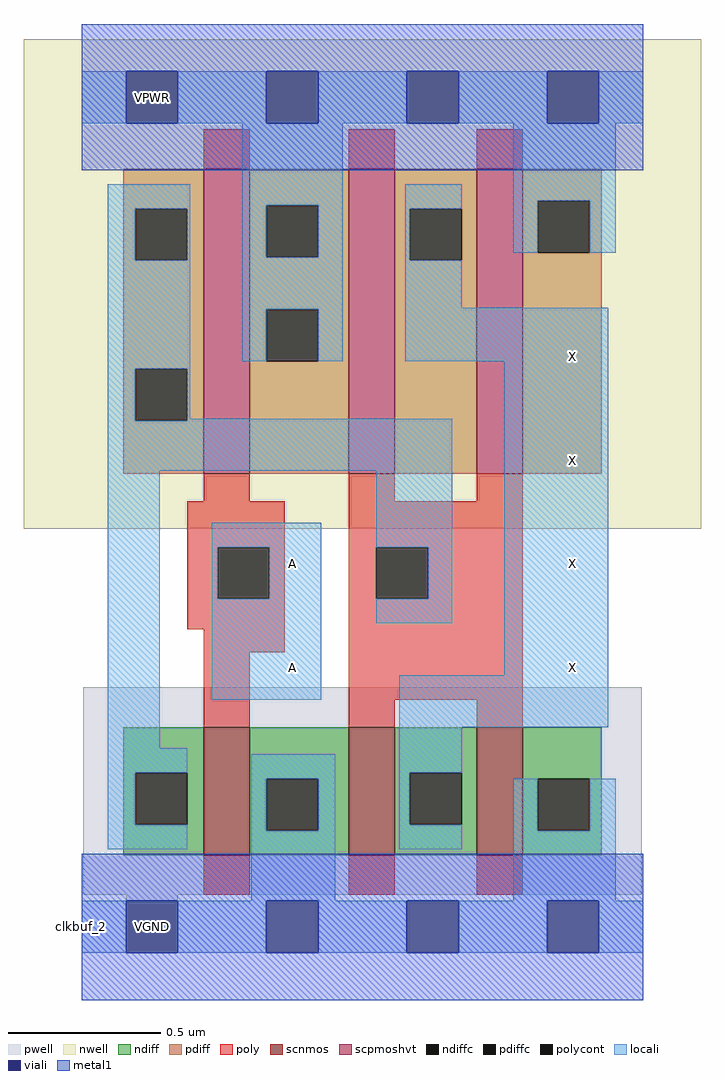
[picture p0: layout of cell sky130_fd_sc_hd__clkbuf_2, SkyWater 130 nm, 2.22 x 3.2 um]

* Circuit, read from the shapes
.subckt sky130_fd_sc_hd__clkbuf_2 VGND VPWR VPB VNB A X
XM1 VGND A n1 VNB sky130_fd_pr__nfet_01v8 w=0.42 l=0.15
XM2 X n1 VGND VNB sky130_fd_pr__nfet_01v8 w=0.42 l=0.15 m=2
XM3 VPWR A n1 VPB sky130_fd_pr__pfet_01v8_hvt w=1 l=0.15
XM4 X n1 VPWR VPB sky130_fd_pr__pfet_01v8_hvt w=1 l=0.15 m=2
.ends

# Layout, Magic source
magic
tech sky130B
magscale 1 2
<< nwell >>
rect -38 221 406 542
<< pwell >>
rect 1 -19 367 117
rect 29 -57 63 -19
<< scnmos >>
rect 80 7 110 91
rect 175 7 205 91
rect 259 7 289 91
<< scpmoshvt >>
rect 80 257 110 457
rect 175 257 205 457
rect 259 257 289 457
<< ndiff >>
rect 27 61 80 91
rect 27 27 35 61
rect 69 27 80 61
rect 27 7 80 27
rect 110 57 175 91
rect 110 23 121 57
rect 155 23 175 57
rect 110 7 175 23
rect 205 61 259 91
rect 205 27 215 61
rect 249 27 259 61
rect 205 7 259 27
rect 289 57 341 91
rect 289 23 299 57
rect 333 23 341 57
rect 289 7 341 23
<< pdiff >>
rect 27 431 80 457
rect 27 397 35 431
rect 69 397 80 431
rect 27 326 80 397
rect 27 292 35 326
rect 69 292 80 326
rect 27 257 80 292
rect 110 433 175 457
rect 110 399 121 433
rect 155 399 175 433
rect 110 365 175 399
rect 110 331 121 365
rect 155 331 175 365
rect 110 257 175 331
rect 205 431 259 457
rect 205 397 215 431
rect 249 397 259 431
rect 205 257 259 397
rect 289 436 341 457
rect 289 402 299 436
rect 333 402 341 436
rect 289 257 341 402
<< ndiffc >>
rect 35 27 69 61
rect 121 23 155 57
rect 215 27 249 61
rect 299 23 333 57
<< pdiffc >>
rect 35 397 69 431
rect 35 292 69 326
rect 121 399 155 433
rect 121 331 155 365
rect 215 397 249 431
rect 299 402 333 436
<< poly >>
rect 80 457 110 483
rect 175 457 205 483
rect 259 457 289 483
rect 80 239 110 257
rect 175 239 205 257
rect 259 239 289 257
rect 69 209 133 239
rect 69 175 89 209
rect 123 175 133 209
rect 69 155 133 175
rect 80 140 133 155
rect 175 209 289 239
rect 175 175 193 209
rect 227 175 289 209
rect 80 91 110 140
rect 175 109 289 175
rect 175 91 205 109
rect 259 91 289 109
rect 80 -19 110 7
rect 175 -19 205 7
rect 259 -19 289 7
<< polycont >>
rect 89 175 123 209
rect 193 175 227 209
<< locali >>
rect 0 487 29 521
rect 63 487 121 521
rect 155 487 213 521
rect 247 487 305 521
rect 339 487 368 521
rect 17 431 71 447
rect 17 397 35 431
rect 69 397 71 431
rect 17 326 71 397
rect 105 433 171 487
rect 105 399 121 433
rect 155 399 171 433
rect 105 365 171 399
rect 105 331 121 365
rect 155 331 171 365
rect 212 431 249 447
rect 212 397 215 431
rect 283 436 350 487
rect 283 402 299 436
rect 333 402 350 436
rect 212 366 249 397
rect 212 331 345 366
rect 17 292 35 326
rect 69 293 71 326
rect 69 292 243 293
rect 17 259 243 292
rect 17 77 51 259
rect 85 209 157 225
rect 85 175 89 209
rect 123 175 157 209
rect 85 109 157 175
rect 193 209 243 259
rect 227 175 243 209
rect 193 159 243 175
rect 277 125 345 331
rect 208 91 345 125
rect 17 61 69 77
rect 17 27 35 61
rect 17 11 69 27
rect 111 57 166 73
rect 111 23 121 57
rect 155 23 166 57
rect 111 -23 166 23
rect 208 61 249 91
rect 208 27 215 61
rect 208 11 249 27
rect 283 23 299 57
rect 333 23 350 57
rect 283 -23 350 23
rect 0 -57 29 -23
rect 63 -57 121 -23
rect 155 -57 213 -23
rect 247 -57 305 -23
rect 339 -57 368 -23
<< viali >>
rect 29 487 63 521
rect 121 487 155 521
rect 213 487 247 521
rect 305 487 339 521
rect 29 -57 63 -23
rect 121 -57 155 -23
rect 213 -57 247 -23
rect 305 -57 339 -23
<< metal1 >>
rect 0 521 368 552
rect 0 487 29 521
rect 63 487 121 521
rect 155 487 213 521
rect 247 487 305 521
rect 339 487 368 521
rect 0 456 368 487
rect 0 -23 368 8
rect 0 -57 29 -23
rect 63 -57 121 -23
rect 155 -57 213 -23
rect 247 -57 305 -23
rect 339 -57 368 -23
rect 0 -88 368 -57
<< labels >>
rlabel comment s 0 -40 0 -40 4 clkbuf_2
flabel metal1 s 29 -57 63 -23 0 FreeSans 200 0 0 0 VGND
port 2 nsew
flabel metal1 s 29 487 63 521 0 FreeSans 200 0 0 0 VPWR
port 3 nsew
flabel metal1 s 46 -40 46 -40 0 FreeSans 200 0 0 0 VGND
flabel metal1 s 46 504 46 504 0 FreeSans 200 0 0 0 VPWR
flabel nwell s 29 487 63 521 0 FreeSans 200 0 0 0 VPB
port 5 nsew
flabel pwell s 29 -57 63 -23 0 FreeSans 200 0 0 0 VNB
port 6 nsew
flabel locali s 121 113 155 147 0 FreeSans 200 0 0 0 A
port 7 nsew
flabel locali s 121 181 155 215 0 FreeSans 200 0 0 0 A
port 7 nsew
flabel locali s 305 181 339 215 0 FreeSans 200 0 0 0 X
port 8 nsew
flabel locali s 305 113 339 147 0 FreeSans 200 0 0 0 X
port 8 nsew
flabel locali s 305 249 339 283 0 FreeSans 200 0 0 0 X
port 8 nsew
flabel locali s 305 317 339 351 0 FreeSans 200 0 0 0 X
port 8 nsew
<< properties >>
string FIXED_BBOX 0 -40 368 504
<< end >>
